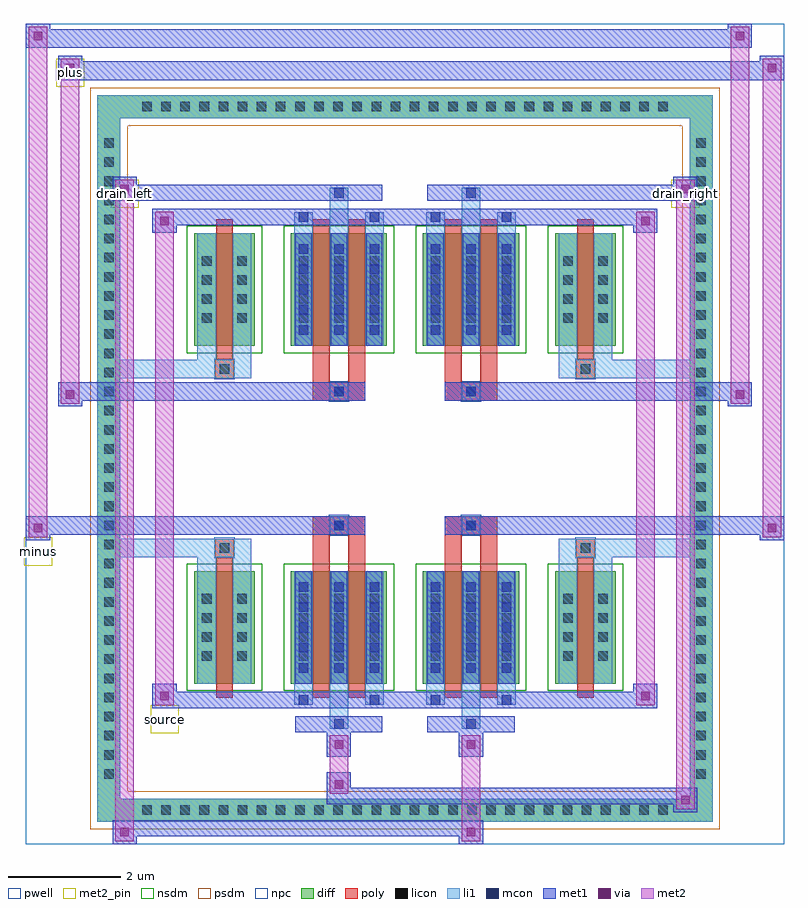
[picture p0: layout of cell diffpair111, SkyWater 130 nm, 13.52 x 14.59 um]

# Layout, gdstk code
import gdstk
lib = gdstk.Library(unit=1e-6, precision=5e-09)
def R(c, l, rs):  # rectangles x0, y0, x1, y1
    for r in rs: c.add(gdstk.rectangle(r[:2], r[2:], *l))
def A(c, l, x, y, w, h, nx, ny, dx, dy):  # array of equal rectangles
    R(c, l, [(x+i*dx, y+j*dy, x+i*dx+w, y+j*dy+h) for i in range(nx) for j in range(ny)])
def P(c, l, *ps):  # polygons
    for p in ps: c.add(gdstk.Polygon(p, *l))
pwell = (64, 44)
diff = (65, 20)
poly = (66, 20)
licon = (66, 44)
li1 = (67, 20)
mcon = (67, 44)
met1 = (68, 20)
via = (68, 44)
met2_pin = (69, 16)
met2 = (69, 20)
nsdm = (93, 44)
psdm = (94, 20)
npc = (95, 20)

diffpair111 = lib.new_cell('diffpair111')
R(diffpair111, pwell, [(-6.74,-6.86,6.74,7.73), (-4.06,-5.05,-0.01,-0.825), (0.01,-5.05,4.06,-0.825), (-4.06,0.825,-0.01,5.05), (0.01,0.825,4.06,5.05)])
A(diffpair111, diff, -4.795, -6.46, 0.41, 0.41, 28, 2, 0.34, 12.51)
A(diffpair111, diff, -5.47, -5.815, 0.41, 0.41, 1, 34, 0, 0.34)
A(diffpair111, diff, 5.06, -5.815, 0.41, 0.41, 1, 34, 0, 0.34)
R(diffpair111, diff, [(-4.795,-6.46,4.795,-6.05), (-5.47,-5.815,-5.06,5.815), (5.06,-5.815,5.47,5.815), (-3.75,-4.005,-2.67,-2.005), (-2.03,-4.005,-0.32,-2.005), (0.32,-4.005,2.03,-2.005), (2.67,-4.005,3.75,-2.005), (-3.75,2.005,-2.67,4.005), (-2.03,2.005,-0.32,4.005), (0.32,2.005,2.03,4.005), (2.67,2.005,3.75,4.005), (-4.795,6.05,4.795,6.46)])
P(diffpair111, diff, [(5.47,6.46),(-5.47,6.46),(-5.47,-6.05),(-5.06,-6.05),(-5.06,6.05),(5.06,6.05),(5.06,-6.05),(-5.06,-6.05),(-5.47,-6.05),(-5.47,-6.46),(5.47,-6.46)])
R(diffpair111, poly, [(-3.36,-4.255,-3.06,-1.755), (-1.64,-4.255,-1.34,-1.755), (-1.01,-4.255,-0.71,-1.755), (0.71,-4.255,1.01,-1.755), (1.34,-4.255,1.64,-1.755), (3.06,-4.255,3.36,-1.755), (-3.375,-1.755,-3.045,-1.425), (-3.375,-1.755,-3.045,-1.425), (-1.64,-1.755,-1.34,-1.355), (-1.01,-1.755,-0.71,-1.355), (0.71,-1.755,1.01,-1.355), (1.34,-1.755,1.64,-1.355), (3.045,-1.755,3.375,-1.425), (3.045,-1.755,3.375,-1.425), (-1.64,-1.355,-0.71,-1.025), (-1.34,-1.355,-1.01,-1.025), (0.71,-1.355,1.64,-1.025), (1.01,-1.355,1.34,-1.025), (-1.64,1.025,-0.71,1.355), (-1.34,1.025,-1.01,1.355), (0.71,1.025,1.64,1.355), (1.01,1.025,1.34,1.355), (-1.64,1.355,-1.34,1.755), (-1.01,1.355,-0.71,1.755), (0.71,1.355,1.01,1.755), (1.34,1.355,1.64,1.755), (-3.375,1.425,-3.045,1.755), (-3.375,1.425,-3.045,1.755), (3.045,1.425,3.375,1.755), (3.045,1.425,3.375,1.755), (-3.36,1.755,-3.06,4.255), (-1.64,1.755,-1.34,4.255), (-1.01,1.755,-0.71,4.255), (0.71,1.755,1.01,4.255), (1.34,1.755,1.64,4.255), (3.06,1.755,3.36,4.255)])
A(diffpair111, licon, -4.675, -6.34, 0.17, 0.17, 28, 2, 0.34, 12.51)
A(diffpair111, licon, -5.35, -5.695, 0.17, 0.17, 1, 34, 0, 0.34)
A(diffpair111, licon, 5.18, -5.695, 0.17, 0.17, 1, 34, 0, 0.34)
A(diffpair111, licon, -3.61, -3.6, 0.17, 0.17, 1, 4, 0, 0.34)
A(diffpair111, licon, -2.98, -3.6, 0.17, 0.17, 1, 4, 0, 0.34)
A(diffpair111, licon, -1.89, -3.6, 0.17, 0.17, 3, 4, 0.63, 0.34)
A(diffpair111, licon, 0.46, -3.6, 0.17, 0.17, 3, 4, 0.63, 0.34)
A(diffpair111, licon, 2.81, -3.6, 0.17, 0.17, 1, 4, 0, 0.34)
A(diffpair111, licon, 3.44, -3.6, 0.17, 0.17, 1, 4, 0, 0.34)
A(diffpair111, licon, -3.61, 2.41, 0.17, 0.17, 1, 4, 0, 0.34)
A(diffpair111, licon, -2.98, 2.41, 0.17, 0.17, 1, 4, 0, 0.34)
A(diffpair111, licon, -1.89, 2.41, 0.17, 0.17, 3, 4, 0.63, 0.34)
A(diffpair111, licon, 0.46, 2.41, 0.17, 0.17, 3, 4, 0.63, 0.34)
A(diffpair111, licon, 2.81, 2.41, 0.17, 0.17, 1, 4, 0, 0.34)
A(diffpair111, licon, 3.44, 2.41, 0.17, 0.17, 1, 4, 0, 0.34)
R(diffpair111, licon, [(-3.295,-1.675,-3.125,-1.505), (3.125,-1.675,3.295,-1.505), (-1.26,-1.275,-1.09,-1.105), (1.09,-1.275,1.26,-1.105), (-1.26,1.105,-1.09,1.275), (1.09,1.105,1.26,1.275), (-3.295,1.505,-3.125,1.675), (3.125,1.505,3.295,1.675)])
A(diffpair111, li1, -4.755, -6.42, 0.33, 0.33, 28, 2, 0.34, 12.51)
A(diffpair111, li1, -5.43, -5.775, 0.33, 0.33, 1, 34, 0, 0.34)
A(diffpair111, li1, 5.1, -5.775, 0.33, 0.33, 1, 34, 0, 0.34)
A(diffpair111, li1, -1.97, -4.005, 0.33, 2, 3, 2, 0.63, 6.01)
A(diffpair111, li1, 0.38, -4.005, 0.33, 2, 3, 2, 0.63, 6.01)
A(diffpair111, li1, -1.89, -3.81, 0.17, 0.17, 3, 5, 0.63, 0.36)
A(diffpair111, li1, -1.89, -3.81, 0.17, 1.61, 3, 2, 0.63, 6.01)
A(diffpair111, li1, 0.46, -3.81, 0.17, 0.17, 3, 5, 0.63, 0.36)
A(diffpair111, li1, 0.46, -3.81, 0.17, 1.61, 3, 2, 0.63, 6.01)
A(diffpair111, li1, -3.69, -3.68, 0.33, 0.33, 1, 4, 0, 0.34)
A(diffpair111, li1, -3.06, -3.68, 0.33, 0.33, 1, 4, 0, 0.34)
A(diffpair111, li1, -1.97, -3.68, 0.33, 0.33, 3, 4, 0.63, 0.34)
A(diffpair111, li1, 0.38, -3.68, 0.33, 0.33, 3, 4, 0.63, 0.34)
A(diffpair111, li1, 2.73, -3.68, 0.33, 0.33, 1, 4, 0, 0.34)
A(diffpair111, li1, 3.36, -3.68, 0.33, 0.33, 1, 4, 0, 0.34)
A(diffpair111, li1, -1.89, 2.2, 0.17, 0.17, 3, 5, 0.63, 0.36)
A(diffpair111, li1, 0.46, 2.2, 0.17, 0.17, 3, 5, 0.63, 0.36)
A(diffpair111, li1, -3.69, 2.33, 0.33, 0.33, 1, 4, 0, 0.34)
A(diffpair111, li1, -3.06, 2.33, 0.33, 0.33, 1, 4, 0, 0.34)
A(diffpair111, li1, -1.97, 2.33, 0.33, 0.33, 3, 4, 0.63, 0.34)
A(diffpair111, li1, 0.38, 2.33, 0.33, 0.33, 3, 4, 0.63, 0.34)
A(diffpair111, li1, 2.73, 2.33, 0.33, 0.33, 1, 4, 0, 0.34)
A(diffpair111, li1, 3.36, 2.33, 0.33, 0.33, 1, 4, 0, 0.34)
R(diffpair111, li1, [(-5.47,-6.46,-5.06,-6.05), (-5.47,-6.46,-5.06,-6.05), (-5.06,-6.46,5.06,-6.05), (5.06,-6.46,5.47,-6.05), (5.06,-6.46,5.47,-6.05), (-5.47,-6.05,-5.06,6.05), (5.06,-6.05,5.47,6.05), (-1.34,-4.81,-1.01,-4.005), (-1.26,-4.81,-1.09,-4.64), (1.01,-4.81,1.34,-4.005), (1.09,-4.81,1.26,-4.64), (-1.97,-4.38,-1.64,-4.005), (-1.89,-4.38,-1.72,-4.21), (-0.71,-4.38,-0.38,-4.005), (-0.63,-4.38,-0.46,-4.21), (0.38,-4.38,0.71,-4.005), (0.46,-4.38,0.63,-4.21), (1.64,-4.38,1.97,-4.005), (1.72,-4.38,1.89,-4.21), (-3.69,-4.005,-3.36,-2.005), (-3.06,-4.005,-2.73,-2.005), (2.73,-4.005,3.06,-2.005), (3.36,-4.005,3.69,-2.005), (-3.69,-2.005,-3.36,-1.425), (-3.06,-2.005,-2.73,-1.425), (2.73,-2.005,3.06,-1.425), (3.36,-2.005,3.69,-1.425), (-5.47,-1.755,-3.375,-1.425), (-3.69,-1.755,-3.375,-1.425), (-3.375,-1.755,-3.045,-1.425), (-3.045,-1.755,-2.73,-1.425), (2.73,-1.755,3.045,-1.425), (3.045,-1.755,3.375,-1.425), (3.045,-1.755,5.47,-1.425), (3.375,-1.755,3.69,-1.425), (-1.34,-1.355,-1.01,-1.025), (1.01,-1.355,1.34,-1.025), (-1.34,1.025,-1.01,1.355), (1.01,1.025,1.34,1.355), (-5.47,1.425,-3.375,1.755), (-3.69,1.425,-3.375,1.755), (-3.69,1.425,-3.36,2.005), (-3.375,1.425,-3.045,1.755), (-3.06,1.425,-2.73,2.005), (-3.045,1.425,-2.73,1.755), (2.73,1.425,3.045,1.755), (2.73,1.425,3.06,2.005), (3.045,1.425,3.375,1.755), (3.045,1.425,5.47,1.755), (3.36,1.425,3.69,2.005), (3.375,1.425,3.69,1.755), (-3.69,2.005,-3.36,4.005), (-3.06,2.005,-2.73,4.005), (2.73,2.005,3.06,4.005), (3.36,2.005,3.69,4.005), (-1.97,4.005,-1.64,4.38), (-1.34,4.005,-1.01,4.81), (-0.71,4.005,-0.38,4.38), (0.38,4.005,0.71,4.38), (1.01,4.005,1.34,4.81), (1.64,4.005,1.97,4.38), (-1.89,4.21,-1.72,4.38), (-0.63,4.21,-0.46,4.38), (0.46,4.21,0.63,4.38), (1.72,4.21,1.89,4.38), (-1.26,4.64,-1.09,4.81), (1.09,4.64,1.26,4.81), (-5.47,6.05,-5.06,6.46), (-5.47,6.05,-5.06,6.46), (-5.06,6.05,5.06,6.46), (5.06,6.05,5.47,6.46), (5.06,6.05,5.47,6.46)])
A(diffpair111, mcon, -1.89, -3.81, 0.17, 0.17, 3, 5, 0.63, 0.36)
A(diffpair111, mcon, 0.46, -3.81, 0.17, 0.17, 3, 5, 0.63, 0.36)
A(diffpair111, mcon, -1.89, 2.2, 0.17, 0.17, 3, 5, 0.63, 0.36)
A(diffpair111, mcon, 0.46, 2.2, 0.17, 0.17, 3, 5, 0.63, 0.36)
R(diffpair111, mcon, [(-1.26,-4.81,-1.09,-4.64), (1.09,-4.81,1.26,-4.64), (-1.89,-4.38,-1.72,-4.21), (-0.63,-4.38,-0.46,-4.21), (0.46,-4.38,0.63,-4.21), (1.72,-4.38,1.89,-4.21), (-1.26,-1.275,-1.09,-1.105), (1.09,-1.275,1.26,-1.105), (-1.26,1.105,-1.09,1.275), (1.09,1.105,1.26,1.275), (-1.89,4.21,-1.72,4.38), (-0.63,4.21,-0.46,4.38), (0.46,4.21,0.63,4.38), (1.72,4.21,1.89,4.38), (-1.26,4.64,-1.09,4.81), (1.09,4.64,1.26,4.81)])
A(diffpair111, met1, -1.95, -4.005, 0.29, 2, 3, 2, 0.63, 6.01)
A(diffpair111, met1, 0.4, -4.005, 0.29, 2, 3, 2, 0.63, 6.01)
A(diffpair111, met1, -1.95, -3.87, 0.29, 0.29, 3, 5, 0.63, 0.36)
A(diffpair111, met1, 0.4, -3.87, 0.29, 0.29, 3, 5, 0.63, 0.36)
A(diffpair111, met1, -1.95, 2.14, 0.29, 0.29, 3, 5, 0.63, 0.36)
A(diffpair111, met1, 0.4, 2.14, 0.29, 0.29, 3, 5, 0.63, 0.36)
R(diffpair111, met1, [(-5.2,-6.86,-4.77,-6.43), (0.96,-6.86,1.39,-6.43), (-5.2,-6.72,1.39,-6.43), (4.77,-6.29,5.2,-5.86), (-1.39,-6.15,5.2,-5.86), (-1.39,-6.01,-0.96,-5.58), (-1.39,-5.3,-0.96,-4.87), (0.96,-5.3,1.39,-4.87), (-1.95,-4.87,-0.4,-4.58), (-1.32,-4.87,-1.03,-4.58), (0.4,-4.87,1.95,-4.58), (1.03,-4.87,1.32,-4.58), (-4.49,-4.44,-4.06,-4.01), (-4.49,-4.44,-1.95,-4.15), (-1.95,-4.44,-1.66,-4.15), (-1.95,-4.44,-0.4,-4.15), (-0.69,-4.44,-0.4,-4.15), (-0.4,-4.44,0.4,-4.15), (0.4,-4.44,0.69,-4.15), (0.4,-4.44,1.95,-4.15), (1.66,-4.44,1.95,-4.15), (1.95,-4.44,4.49,-4.15), (4.06,-4.44,4.49,-4.01), (-6.74,-1.455,-6.31,-1.025), (6.31,-1.455,6.74,-1.025), (-6.74,-1.355,-0.71,-1.025), (-1.64,-1.355,-0.71,-1.025), (0.71,-1.355,1.64,-1.025), (0.71,-1.355,6.74,-1.025), (-1.32,-1.335,-1.03,-1.045), (1.03,-1.335,1.32,-1.045), (-6.17,0.925,-5.74,1.355), (5.74,0.925,6.17,1.355), (-6.17,1.025,-1.64,1.355), (-1.64,1.025,-0.71,1.355), (0.71,1.025,1.64,1.355), (1.64,1.025,6.17,1.355), (-1.32,1.045,-1.03,1.335), (1.03,1.045,1.32,1.335), (-4.49,4.01,-4.06,4.44), (4.06,4.01,4.49,4.44), (-4.49,4.15,-1.95,4.44), (-1.95,4.15,-1.66,4.44), (-1.95,4.15,-0.4,4.44), (-0.69,4.15,-0.4,4.44), (-0.4,4.15,0.4,4.44), (0.4,4.15,0.69,4.44), (0.4,4.15,1.95,4.44), (1.66,4.15,1.95,4.44), (1.95,4.15,4.49,4.44), (-5.2,4.58,-4.77,5.01), (-5.2,4.58,-1.95,4.87), (-1.95,4.58,-0.4,4.87), (-1.32,4.58,-1.03,4.87), (0.4,4.58,1.95,4.87), (1.03,4.58,1.32,4.87), (1.95,4.58,5.2,4.87), (4.77,4.58,5.2,5.01), (-6.17,6.73,-5.74,7.16), (-6.17,6.73,-4.06,7.06), (-4.06,6.73,4.06,7.06), (4.06,6.73,6.74,7.06), (6.31,6.73,6.74,7.16), (-6.74,7.3,-6.31,7.73), (-6.74,7.3,-4.06,7.63), (-4.06,7.3,4.06,7.63), (4.06,7.3,6.17,7.63), (5.74,7.3,6.17,7.73)])
R(diffpair111, via, [(-5.06,-6.72,-4.91,-6.57), (1.1,-6.72,1.25,-6.57), (4.91,-6.15,5.06,-6), (-1.25,-5.87,-1.1,-5.72), (-1.25,-5.16,-1.1,-5.01), (1.1,-5.16,1.25,-5.01), (-4.35,-4.3,-4.2,-4.15), (4.2,-4.3,4.35,-4.15), (-6.6,-1.315,-6.45,-1.165), (6.45,-1.315,6.6,-1.165), (-6.03,1.065,-5.88,1.215), (5.88,1.065,6.03,1.215), (-4.35,4.15,-4.2,4.3), (4.2,4.15,4.35,4.3), (-5.06,4.72,-4.91,4.87), (4.91,4.72,5.06,4.87), (-6.03,6.87,-5.88,7.02), (6.45,6.87,6.6,7.02), (-6.6,7.44,-6.45,7.59), (5.88,7.44,6.03,7.59)])
R(diffpair111, met2_pin, [(-4.525,-4.89,-4.025,-4.39), (-6.775,-1.905,-6.275,-1.405), (-5.235,4.46,-4.735,4.96), (4.735,4.46,5.235,4.96), (-6.205,6.61,-5.705,7.11)])
R(diffpair111, met2, [(-5.15,-6.81,-4.82,-6.48), (-5.15,-6.81,-4.82,4.96), (1.01,-6.81,1.34,-6.48), (1.01,-6.48,1.34,-5.25), (4.82,-6.24,5.15,-5.91), (4.82,-6.24,5.15,4.96), (-1.34,-5.96,-1.01,-5.63), (-1.34,-5.63,-1.01,-5.25), (-1.34,-5.25,-1.01,-4.92), (1.01,-5.25,1.34,-4.92), (-4.44,-4.39,-4.11,-4.06), (-4.44,-4.39,-4.11,4.39), (4.11,-4.39,4.44,-4.06), (4.11,-4.39,4.44,4.39), (-6.69,-1.405,-6.36,-1.075), (-6.69,-1.405,-6.36,7.68), (6.36,-1.405,6.69,-1.075), (6.36,-1.405,6.69,7.11), (-6.12,0.975,-5.79,1.305), (-6.12,0.975,-5.79,7.11), (5.79,0.975,6.12,1.305), (5.79,0.975,6.12,7.68), (-4.44,4.06,-4.11,4.39), (4.11,4.06,4.44,4.39), (-5.15,4.63,-4.82,4.96), (4.82,4.63,5.15,4.96), (-6.12,6.78,-5.79,7.11), (6.36,6.78,6.69,7.11), (-6.69,7.35,-6.36,7.68), (5.79,7.35,6.12,7.68)])
P(diffpair111, met2, [(6.69,-1.405),(6.69,-1.405),(6.69,-1.075),(6.69,-1.075)],
  [(6.69,6.78),(6.69,6.78),(6.69,7.11),(6.69,7.11)],
  [(-6.36,-1.405),(-6.36,-1.405),(-6.36,-1.075),(-6.36,-1.075)],
  [(-6.36,7.35),(-6.36,7.35),(-6.36,7.68),(-6.36,7.68)],
  [(6.12,0.975),(6.12,0.975),(6.12,1.305),(6.12,1.305)],
  [(6.12,7.35),(6.12,7.35),(6.12,7.68),(6.12,7.68)],
  [(-5.79,0.975),(-5.79,0.975),(-5.79,1.305),(-5.79,1.305)],
  [(-5.79,6.78),(-5.79,6.78),(-5.79,7.11),(-5.79,7.11)],
  [(-4.82,-6.81),(-4.82,-6.81),(-4.82,-6.48),(-4.82,-6.48)],
  [(-4.82,4.63),(-4.82,4.63),(-4.82,4.96),(-4.82,4.96)],
  [(5.15,-6.24),(5.15,-6.24),(5.15,-5.91),(5.15,-5.91)],
  [(5.15,4.63),(5.15,4.63),(5.15,4.96),(5.15,4.96)],
  [(-4.11,-4.39),(-4.11,-4.39),(-4.11,-4.06),(-4.11,-4.06)],
  [(-4.11,4.06),(-4.11,4.06),(-4.11,4.39),(-4.11,4.39)],
  [(4.44,-4.39),(4.44,-4.39),(4.44,-4.06),(4.44,-4.06)],
  [(4.44,4.06),(4.44,4.06),(4.44,4.39),(4.44,4.39)])
R(diffpair111, nsdm, [(-3.88,-4.135,-2.54,-1.875), (-2.16,-4.135,-0.19,-1.875), (0.19,-4.135,2.16,-1.875), (2.54,-4.135,3.88,-1.875), (-3.88,1.875,-2.54,4.135), (-2.16,1.875,-0.19,4.135), (0.19,1.875,2.16,4.135), (2.54,1.875,3.88,4.135)])
P(diffpair111, psdm, [(5.6,6.59),(-5.6,6.59),(-5.6,-5.92),(-4.93,-5.92),(-4.93,5.92),(4.93,5.92),(4.93,-5.92),(-4.93,-5.92),(-5.6,-5.92),(-5.6,-6.59),(5.6,-6.59)])
R(diffpair111, npc, [(-3.395,-1.775,-3.025,-1.405), (3.025,-1.775,3.395,-1.405), (-1.36,-1.375,-0.99,-1.005), (0.99,-1.375,1.36,-1.005), (-1.36,1.005,-0.99,1.375), (0.99,1.005,1.36,1.375), (-3.395,1.405,-3.025,1.775), (3.025,1.405,3.395,1.775)])
diffpair111.add(gdstk.Label('minus', (-6.525,-1.655), layer=69, texttype=5))
diffpair111.add(gdstk.Label('drain_right', (4.985,4.71), layer=69, texttype=5))
diffpair111.add(gdstk.Label('drain_left', (-4.985,4.71), layer=69, texttype=5))
diffpair111.add(gdstk.Label('source', (-4.275,-4.64), layer=69, texttype=5))
diffpair111.add(gdstk.Label('plus', (-5.955,6.86), layer=69, texttype=5))

lib.write_gds('diffpair111.gds')
